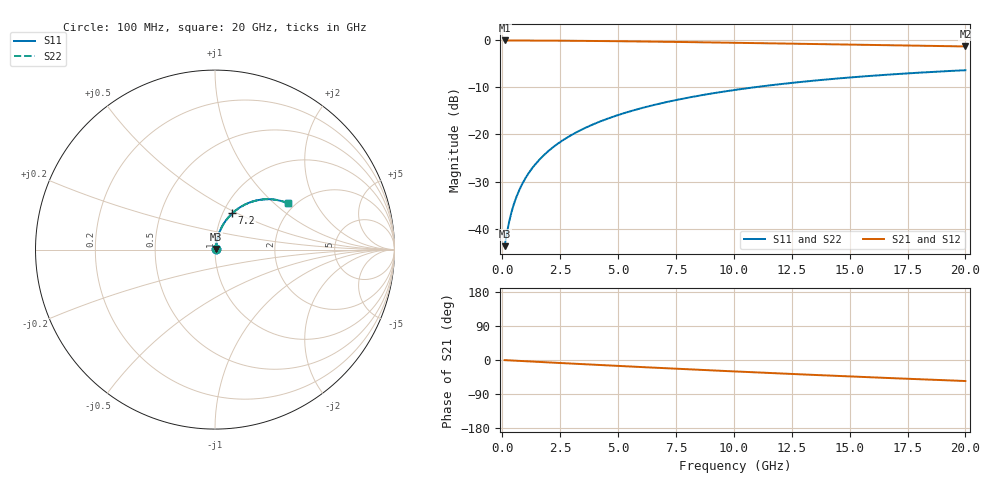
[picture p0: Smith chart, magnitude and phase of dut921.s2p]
! Touchstone file exported from HFSS 2026.1.0
!  File:  C:/ffzhzh/LocalFiles/Ansys_Project_Files/temp_train_TMRDL_921_1783158170_22436.aedt
!  Generated:  05:44:14 PM Jul  4, 2026
!  Design:  TMRDL
!  Project:  temp_train_TMRDL_921_1783158170_22436
! Variables:
!  h_bsmrdl = 2um
!  h_ox = 20um
!  h_rdl = 5um
!  h_sub = 80um
!  h_tmrdl = 4.74um
!  h_tsv = 80um
!  h_via = 3um
!  l_bsmrdl = 300um
!  l_sub = 1279.91um
!  l_tmrdl = 879.91um
!  m_sub = 200um
!  pitch = 33.57um
!  r_tsv = 6um
!  s_tmrdl = 10um
!  w_bsmrdl = 18um
!  w_sub = 500um
!  w_tmrdl = 12.05um
!  x_tsv_center1 = 885.935um
!  x_tsv_center2 = 1203.935um
!  x_tsv_center3 = 2095.895um
!  x_tsv_center4 = 2413.895um
!  x_tsv_center5 = 3305.855um
!  x_tsv_center6 = 3623.855um
# GHz S MA R 50.000000
! Terminal data exported
! Port[1] = TM_RDL1_1_T1
! Port[2] = TM_RDL1_1_T2
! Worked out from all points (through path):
!   200 points, 100 MHz to 20 GHz, reference 50 ohm
!   highest |S21| = -0.05 dB at 100 MHz (marker M1); lowest = -1.3 dB at 20 GHz (marker M2)
!   group delay of S21, straight-line fit = 7.7 ps
!   lowest |S11| = -43.7 dB at 100 MHz (marker M3), VSWR 1.01, Z = 50.5 + j0.356 ohm
!   |S11| at or under -10 dB: start of sweep to 10.87 GHz
!   |S22| runs from -43.7 to -6.4 dB; largest |S21 - S12| = 8.1e-15
!   S11 on the Smith chart (normalised r, x): 100 MHz: 1.01, +0.01; 7.2 GHz: 1.11, +0.47; 20 GHz: 1.83, +1.23
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0.1  0.006511 32.8  0.9945 -0.3  0.9945 -0.3  0.006511 32.8
! Gamma 0 0 0 0
! Port Impedance 50 0 50 0
0.2  0.008995 51.0  0.9944 -0.7  0.9944 -0.7  0.008995 51.0
0.3  0.01194 60.3  0.9942 -1.0  0.9942 -1.0  0.01194 60.3
0.4  0.01504 65.7  0.994 -1.3  0.994 -1.3  0.01504 65.7
0.5  0.01819 69.1  0.9938 -1.6  0.9938 -1.6  0.01819 69.1
0.6  0.02138 71.4  0.9937 -1.9  0.9937 -1.9  0.02138 71.4
0.8  0.02781 74.4  0.9933 -2.6  0.9933 -2.6  0.02781 74.4
1.1  0.03755 76.5  0.9928 -3.5  0.9928 -3.5  0.03755 76.5
1.3  0.04407 77.2  0.9924 -4.2  0.9924 -4.2  0.04407 77.2
1.6  0.05386 77.6  0.9917 -5.1  0.9917 -5.1  0.05386 77.6
2.1  0.07012 77.3  0.9903 -6.7  0.9903 -6.7  0.07012 77.3
2.7  0.08944 76.4  0.9881 -8.6  0.9881 -8.6  0.08944 76.4
3.5  0.1148 74.6  0.9846 -11.0  0.9846 -11.0  0.1148 74.6
4.2  0.1364 72.8  0.9811 -13.2  0.9811 -13.2  0.1364 72.8
5  0.1606 70.6  0.9765 -15.6  0.9765 -15.6  0.1606 70.6
6.8  0.2124 65.7  0.9647 -20.9  0.9647 -20.9  0.2124 65.7
7.2  0.2235 64.6  0.9618 -22.1  0.9618 -22.1  0.2234 64.6
8.6  0.2607 60.8  0.9513 -26.1  0.9513 -26.1  0.2606 60.8
10.1  0.2981 56.7  0.9394 -30.3  0.9394 -30.3  0.2981 56.8
13.4  0.3712 48.2  0.9119 -39.2  0.9119 -39.2  0.3712 48.3
16.7  0.4319 40.2  0.8845 -47.6  0.8845 -47.6  0.4319 40.2
20  0.4806 32.5  0.8593 -55.5  0.8593 -55.5  0.4805 32.5
